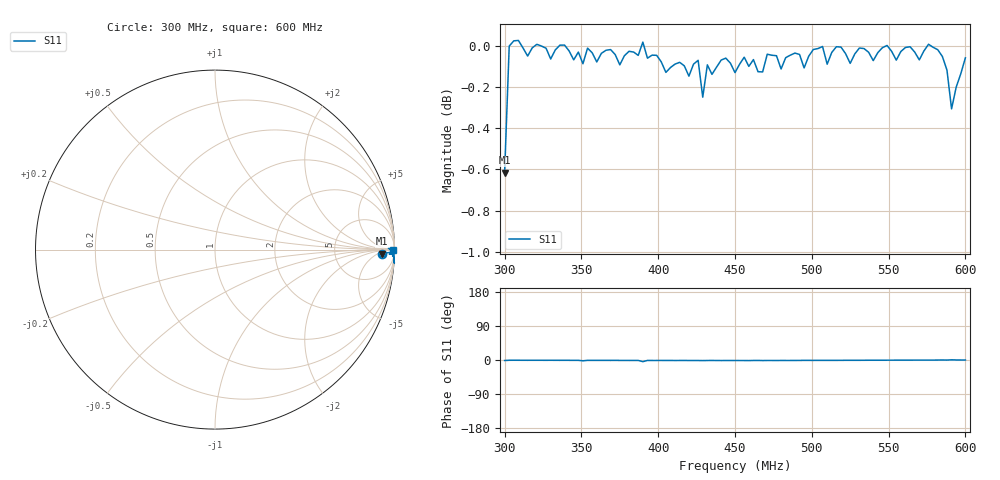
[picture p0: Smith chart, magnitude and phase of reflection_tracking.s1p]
! Created with skrf 1.8.0 (http://scikit-rf.org).
# Hz S RI R 50.0
!freq ReS11 ImS11
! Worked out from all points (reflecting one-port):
!   101 points, 300 MHz to 600 MHz, reference 50 ohm
!   lowest |S11| = -0.6 dB at 300 MHz (marker M1), VSWR 28.20, Z = 1.27e+03 - j421 ohm
!   phase of S11 starts at -1 deg and turns +1 deg over the sweep
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3e8  0.9312 -0.0219
3.03e8  0.9998 -0.0118
3.3e8  0.9927 -0.0119
3.39e8  1 -0.0138
3.48e8  0.9964 -0.0147
3.51e8  0.9894 -0.0362
3.54e8  0.9986 -0.0165
3.75e8  0.9893 -0.0182
3.87e8  0.9945 -0.0192
3.9e8  0.9992 -0.076
3.93e8  0.993 -0.0201
4.14e8  0.9906 -0.0216
4.2e8  0.983 -0.0225
4.26e8  0.9917 -0.0234
4.29e8  0.9714 -0.0261
4.32e8  0.9892 -0.0223
4.5e8  0.9849 -0.023
4.89e8  0.9958 -0.0209
4.95e8  0.9876 -0.0174
5.01e8  0.9979 -0.0178
5.1e8  0.9897 -0.0163
5.19e8  0.9993 -0.0148
5.25e8  0.9902 -0.0135
5.64e8  0.9995 -0.00651
5.85e8  0.9941 0.00176
5.88e8  0.9866 -0.00336
5.91e8  0.9654 0.00856
6e8  0.9934 -0.00167
